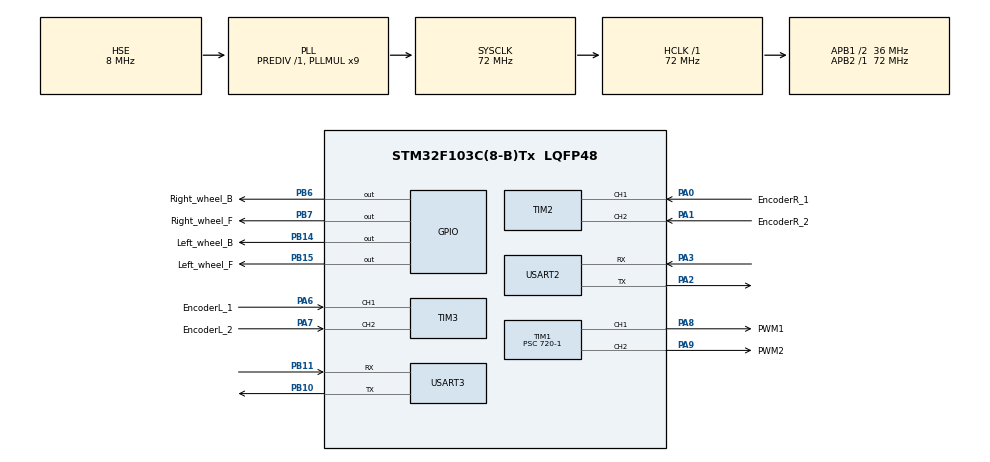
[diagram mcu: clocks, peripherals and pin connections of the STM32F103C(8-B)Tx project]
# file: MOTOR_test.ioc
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Dma.Request0=USART2_TX
Dma.USART2_TX.0.Direction=DMA_MEMORY_TO_PERIPH
Dma.USART2_TX.0.Instance=DMA1_Channel7
Dma.USART2_TX.0.MemDataAlignment=DMA_MDATAALIGN_BYTE
Dma.USART2_TX.0.MemInc=DMA_MINC_ENABLE
Dma.USART2_TX.0.Mode=DMA_CIRCULAR
Dma.USART2_TX.0.PeriphDataAlignment=DMA_PDATAALIGN_BYTE
Dma.USART2_TX.0.PeriphInc=DMA_PINC_DISABLE
Dma.USART2_TX.0.Priority=DMA_PRIORITY_LOW
Mcu.Family=STM32F1
Mcu.Name=STM32F103C(8-B)Tx
Mcu.Package=LQFP48
NVIC.DMA1_Channel7_IRQn=true\:0\:0\:false\:false\:true\:false\:true\:true
NVIC.PriorityGroup=NVIC_PRIORITYGROUP_4
NVIC.TIM4_IRQn=true\:0\:0\:false\:false\:true\:true\:true\:true
NVIC.USART2_IRQn=true\:1\:0\:true\:false\:true\:true\:true\:true
PA0-WKUP.GPIO_Label=EncoderR_1
PA0-WKUP.GPIO_PuPd=GPIO_NOPULL
PA0-WKUP.Signal=S_TIM2_CH1_ETR
PA1.GPIO_Label=EncoderR_2
PA1.GPIO_PuPd=GPIO_NOPULL
PA1.Signal=S_TIM2_CH2
PA13.Mode=Serial_Wire
PA13.Signal=SYS_JTMS-SWDIO
PA14.Mode=Serial_Wire
PA14.Signal=SYS_JTCK-SWCLK
PA2.Mode=Asynchronous
PA2.Signal=USART2_TX
PA3.Mode=Asynchronous
PA3.Signal=USART2_RX
PA6.GPIO_Label=EncoderL_1
PA6.Signal=S_TIM3_CH1
PA7.GPIO_Label=EncoderL_2
PA7.Signal=S_TIM3_CH2
PA8.GPIO_Label=PWM1
PA8.Signal=S_TIM1_CH1
PA9.GPIO_Label=PWM2
PA9.Signal=S_TIM1_CH2
PB10.Mode=Asynchronous
PB10.Signal=USART3_TX
PB11.Mode=Asynchronous
PB11.Signal=USART3_RX
PB14.GPIO_Label=Left_wheel_B
PB14.GPIO_PuPd=GPIO_PULLUP
PB14.GPIO_Speed=GPIO_SPEED_FREQ_HIGH
PB14.Signal=GPIO_Output
PB15.GPIO_Label=Left_wheel_F
PB15.GPIO_PuPd=GPIO_PULLUP
PB15.GPIO_Speed=GPIO_SPEED_FREQ_HIGH
PB15.PinState=GPIO_PIN_RESET
PB15.Signal=GPIO_Output
PB6.GPIO_Label=Right_wheel_B
PB6.GPIO_ModeDefaultOutputPP=GPIO_MODE_OUTPUT_PP
PB6.GPIO_PuPd=GPIO_PULLUP
PB6.GPIO_Speed=GPIO_SPEED_FREQ_HIGH
PB6.Signal=GPIO_Output
PB7.GPIO_Label=Right_wheel_F
PB7.GPIO_PuPd=GPIO_PULLUP
PB7.GPIO_Speed=GPIO_SPEED_FREQ_HIGH
PB7.Signal=GPIO_Output
PD0-OSC_IN.Mode=HSE-External-Oscillator
PD0-OSC_IN.Signal=RCC_OSC_IN
PD1-OSC_OUT.Mode=HSE-External-Oscillator
PD1-OSC_OUT.Signal=RCC_OSC_OUT
ProjectManager.HeapSize=0x200
ProjectManager.StackSize=0x400
ProjectManager.TargetToolchain=CMake
RCC.AHBFreq_Value=72000000
RCC.APB1CLKDivider=RCC_HCLK_DIV2
RCC.APB1Freq_Value=36000000
RCC.APB1TimFreq_Value=72000000
RCC.APB2Freq_Value=72000000
RCC.APB2TimFreq_Value=72000000
RCC.HCLKFreq_Value=72000000
RCC.PLLMUL=RCC_PLL_MUL9
RCC.PLLSourceVirtual=RCC_PLLSOURCE_HSE
RCC.SYSCLKFreq_VALUE=72000000
RCC.SYSCLKSource=RCC_SYSCLKSOURCE_PLLCLK
RCC.USBFreq_Value=72000000
SH.S_TIM1_CH1.0=TIM1_CH1,PWM Generation1 CH1
SH.S_TIM1_CH2.0=TIM1_CH2,PWM Generation2 CH2
SH.S_TIM2_CH1_ETR.0=TIM2_CH1,Encoder_Interface
SH.S_TIM2_CH2.0=TIM2_CH2,Encoder_Interface
SH.S_TIM3_CH1.0=TIM3_CH1,Encoder_Interface
SH.S_TIM3_CH2.0=TIM3_CH2,Encoder_Interface
TIM1.Channel-PWM\ Generation1\ CH1=TIM_CHANNEL_1
TIM1.Channel-PWM\ Generation2\ CH2=TIM_CHANNEL_2
TIM1.Period=100-1
TIM1.Prescaler=720-1
TIM1.TIM_MasterOutputTrigger=TIM_TRGO_UPDATE
TIM2.EncoderMode=TIM_ENCODERMODE_TI12
TIM2.IC1Filter=4
TIM3.EncoderMode=TIM_ENCODERMODE_TI12
TIM4.AutoReloadPreload=TIM_AUTORELOAD_PRELOAD_ENABLE
TIM4.Period=1000-1
TIM4.Prescaler=720-1
USART2.VirtualMode=VM_ASYNC
USART3.VirtualMode=VM_ASYNC
VP_TIM1_VS_ClockSourceINT.Mode=Internal
VP_TIM4_VS_ClockSourceINT.Mode=Internal
board=custom

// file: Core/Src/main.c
/* USER CODE BEGIN Header */
/**
  ******************************************************************************
  * @file           : main.c
  * @brief          : Main program body
  ******************************************************************************
  * @attention
  *
  * Copyright (c) 2026 STMicroelectronics.
  * All rights reserved.
  *
  * This software is licensed under terms that can be found in the LICENSE file
  * in the root directory of this software component.
  * If no LICENSE file comes with this software, it is provided AS-IS.
  *
  ******************************************************************************
  */
/* USER CODE END Header */
#include "main.h"
#include "dma.h"
#include "tim.h"
#include "usart.h"
#include "gpio.h"

/* USER CODE BEGIN Includes */
#include <motor.h>
#include "string.h"
#include <stdio.h>
#include "PID.h"
#include "log.h"
/* USER CODE END Includes */

/* USER CODE BEGIN PV */
char message_R[50] = "";
char message_L[50] = "";
/* USER CODE END PV */

void SystemClock_Config(void);
/* USER CODE BEGIN PFP */
// void HAL_UART_TxCpltCallback(UART_HandleTypeDef *huart) {
//   sprintf(message, "n0.val=%.2f\nn1.val=%.2f", Speed_R, Speed_L);
//   HAL_UART_Transmit_DMA(huart, (uint8_t*)message, strlen(message));
// }
/* USER CODE END PFP */

int main(void)
{

  /* MCU Configuration--------------------------------------------------------*/

  /* Reset of all peripherals, Initializes the Flash interface and the Systick. */
  HAL_Init();

  /* Configure the system clock */
  SystemClock_Config();

  /* Initialize all configured peripherals */
  MX_GPIO_Init();
  MX_DMA_Init();
  MX_TIM1_Init();
  MX_TIM2_Init();
  MX_TIM3_Init();
  MX_TIM4_Init();
  MX_USART2_UART_Init();
  MX_USART3_UART_Init();
  /* USER CODE BEGIN 2 */
  HAL_TIM_Base_Start_IT(&htim4);
  Motor_Init();
  Motor_PID_Init(0.02f, 0.05f, 0.00f);
  //Motor_PID_SetTarget(200, B);
  Motor_SetSpeed(20,B);
  /* USER CODE END 2 */

  /* Infinite loop */
  /* USER CODE BEGIN WHILE */
  while (1)
  {
    // sprintf(message_R, "page0.n1.val=%d\xff\xff\xff", (int16_t)Speed_R);
    // HAL_UART_Transmit(&huart2, (uint8_t *)message_R, strlen(message_R),HAL_MAX_DELAY);
    // sprintf(message_L, "page0.n0.val=%d\xff\xff\xff", (int)__HAL_TIM_GET_COMPARE(&htim1, TIM_CHANNEL_1));
    // HAL_UART_Transmit(&huart2, (uint8_t *)message_L, strlen(message_L),HAL_MAX_DELAY);
    // HAL_Delay(50);
    /* USER CODE END WHILE */

  }
}

void SystemClock_Config(void)
{
  RCC_OscInitTypeDef RCC_OscInitStruct = {0};
  RCC_ClkInitTypeDef RCC_ClkInitStruct = {0};

  /** Initializes the RCC Oscillators according to the specified parameters
  * in the RCC_OscInitTypeDef structure.
  */
  RCC_OscInitStruct.OscillatorType = RCC_OSCILLATORTYPE_HSE;
  RCC_OscInitStruct.HSEState = RCC_HSE_ON;
  RCC_OscInitStruct.HSEPredivValue = RCC_HSE_PREDIV_DIV1;
  RCC_OscInitStruct.HSIState = RCC_HSI_ON;
  RCC_OscInitStruct.PLL.PLLState = RCC_PLL_ON;
  RCC_OscInitStruct.PLL.PLLSource = RCC_PLLSOURCE_HSE;
  RCC_OscInitStruct.PLL.PLLMUL = RCC_PLL_MUL9;
  if (HAL_RCC_OscConfig(&RCC_OscInitStruct) != HAL_OK)
  {
    Error_Handler();
  }

  /** Initializes the CPU, AHB and APB buses clocks
  */
  RCC_ClkInitStruct.ClockType = RCC_CLOCKTYPE_HCLK|RCC_CLOCKTYPE_SYSCLK
                              |RCC_CLOCKTYPE_PCLK1|RCC_CLOCKTYPE_PCLK2;
  RCC_ClkInitStruct.SYSCLKSource = RCC_SYSCLKSOURCE_PLLCLK;
  RCC_ClkInitStruct.AHBCLKDivider = RCC_SYSCLK_DIV1;
  RCC_ClkInitStruct.APB1CLKDivider = RCC_HCLK_DIV2;
  RCC_ClkInitStruct.APB2CLKDivider = RCC_HCLK_DIV1;

  if (HAL_RCC_ClockConfig(&RCC_ClkInitStruct, FLASH_LATENCY_2) != HAL_OK)
  {
    Error_Handler();
  }
}

/* USER CODE BEGIN 4 */
void HAL_TIM_PeriodElapsedCallback(TIM_HandleTypeDef *htim)
{
  // 判断是否是TIM4触发的中断
  if(htim->Instance == TIM4)
  {
    log_uprintf(&huart3,"%d,%d\n", (int)Speed_R, (int)Speed_L);
    Motor_Get_Speed();   // 执行编码器测速
    //Motor_PID_Enforce(); // 执行PID闭环调速
  }
}
/* USER CODE END 4 */

void Error_Handler(void)
{
  __disable_irq();
  while (1)
  {
  }
}
